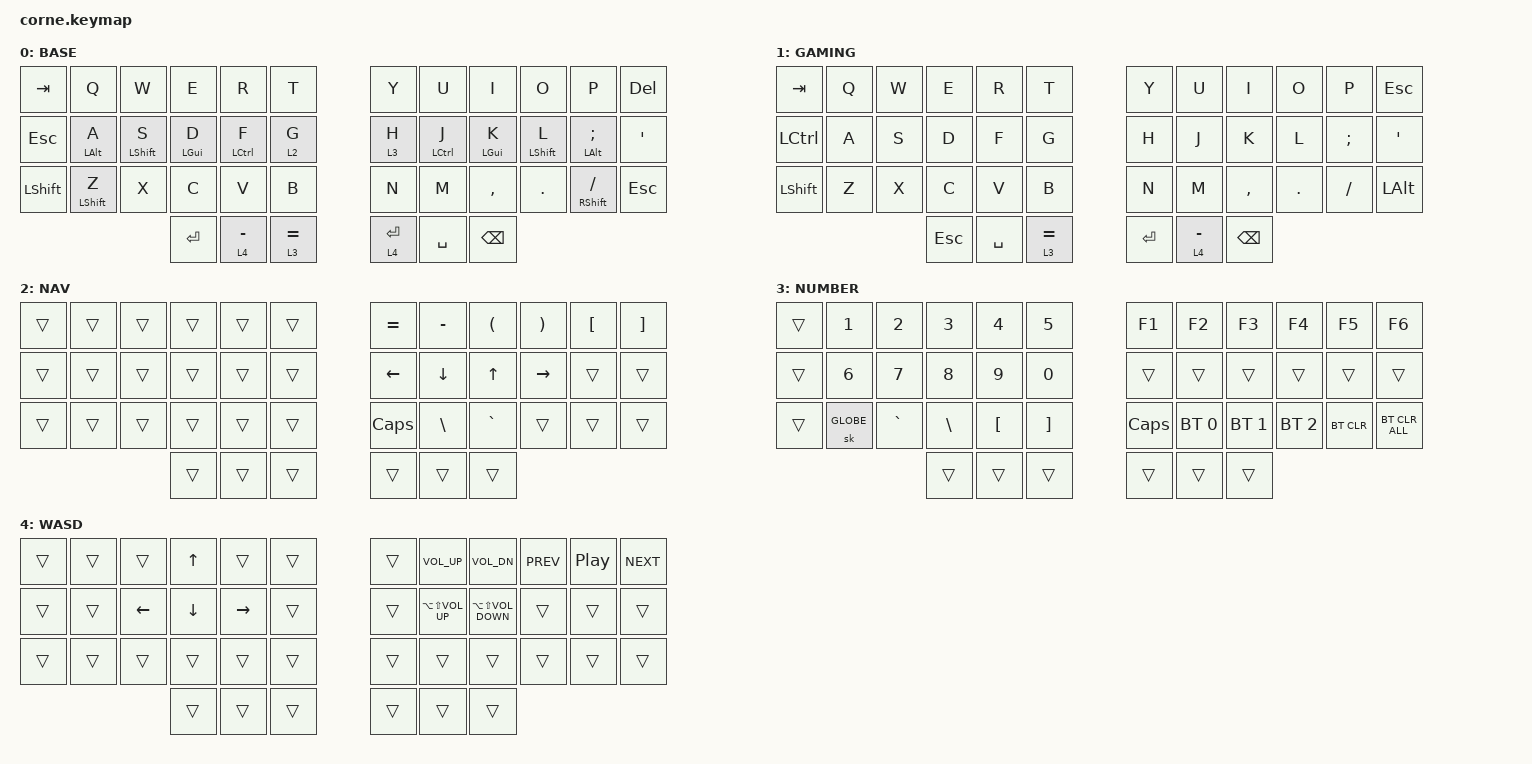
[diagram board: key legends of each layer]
/*
 * Copyright (c) 2020 The ZMK Contributors
 *
 * SPDX-License-Identifier: MIT
 */

#include <behaviors.dtsi>
#include <dt-bindings/zmk/bt.h>
#include <dt-bindings/zmk/keys.h>

/ {
    combos {
        compatible = "zmk,combos";

        GAMING {
            bindings = <&to 1>;
            key-positions = <10 9 8 7>;
        };

        BASE {
            bindings = <&to 0>;
            key-positions = <31 32 33 34>;
        };
    };

    behaviors {
        homemod: homemod {
            compatible = "zmk,behavior-hold-tap";
            label = "HOMEMOD";
            bindings = <&kp>, <&kp>;

            #binding-cells = <2>;
            flavor = "tap-preferred";
            tapping-term-ms = <180>;
            quick-tap-ms = <180>;
        };
    };

    keymap {
        compatible = "zmk,keymap";

        BASE {
            bindings = <
&kp TAB     &kp Q                &kp W                  &kp E            &kp R                    &kp T          &kp Y        &kp U                    &kp I            &kp O                  &kp P                        &kp DELETE
&kp ESCAPE  &homemod LEFT_ALT A  &homemod LEFT_SHIFT S  &homemod LGUI D  &homemod LEFT_CONTROL F  &lt 2 G        &lt 3 H      &homemod LEFT_CONTROL J  &homemod LGUI K  &homemod LEFT_SHIFT L  &homemod LEFT_ALT SEMICOLON  &kp SQT
&kp LSHFT   &mt LEFT_SHIFT Z     &kp X                  &kp C            &kp V                    &kp B          &kp N        &kp M                    &kp COMMA        &kp DOT                &mt RIGHT_SHIFT FSLH         &kp ESCAPE
                                                        &kp ENTER        &lt 4 MINUS              &lt 3 EQUAL    &lt 4 ENTER  &kp SPACE                &kp BACKSPACE
            >;
        };

        GAMING {
            bindings = <
&kp TAB           &kp Q  &kp W  &kp E       &kp R      &kp T          &kp Y      &kp U        &kp I          &kp O    &kp P     &kp ESCAPE
&kp LEFT_CONTROL  &kp A  &kp S  &kp D       &kp F      &kp G          &kp H      &kp J        &kp K          &kp L    &kp SEMI  &kp SQT
&kp LSHFT         &kp Z  &kp X  &kp C       &kp V      &kp B          &kp N      &kp M        &kp COMMA      &kp DOT  &kp FSLH  &kp LEFT_ALT
                                &kp ESCAPE  &kp SPACE  &lt 3 EQUAL    &kp ENTER  &lt 4 MINUS  &kp BACKSPACE
            >;
        };

        NAV {
            bindings = <
&trans  &trans  &trans  &trans  &trans  &trans    &kp EQUAL     &kp MINUS      &kp LEFT_PARENTHESIS  &kp RIGHT_PARENTHESIS  &kp LEFT_BRACKET  &kp RIGHT_BRACKET
&trans  &trans  &trans  &trans  &trans  &trans    &kp LEFT      &kp DOWN       &kp UP_ARROW          &kp RIGHT              &trans            &trans
&trans  &trans  &trans  &trans  &trans  &trans    &kp CAPSLOCK  &kp BACKSLASH  &kp GRAVE             &trans                 &trans            &trans
                        &trans  &trans  &trans    &trans        &trans         &trans
            >;
        };

        NUMBER {
            bindings = <
&trans  &kp N1     &kp N2     &kp N3         &kp N4    &kp N5      &kp F1        &kp F2        &kp F3        &kp F4        &kp F5      &kp F6
&trans  &kp N6     &kp N7     &kp N8         &kp N9    &kp N0      &trans        &trans        &trans        &trans        &trans      &trans
&trans  &sk GLOBE  &kp GRAVE  &kp BACKSLASH  &kp LBKT  &kp RBKT    &kp CAPSLOCK  &bt BT_SEL 0  &bt BT_SEL 1  &bt BT_SEL 2  &bt BT_CLR  &bt BT_CLR_ALL
                              &trans         &trans    &trans      &trans        &trans        &trans
            >;
        };

        WASD {
            bindings = <
&trans  &trans  &trans          &kp UP_ARROW    &trans           &trans    &trans  &kp C_VOL_UP          &kp C_VOL_DN               &kp C_PREV  &kp C_PLAY_PAUSE  &kp C_NEXT
&trans  &trans  &kp LEFT_ARROW  &kp DOWN_ARROW  &kp RIGHT_ARROW  &trans    &trans  &kp LA(LS(C_VOL_UP))  &kp LA(LS(C_VOLUME_DOWN))  &trans      &trans            &trans
&trans  &trans  &trans          &trans          &trans           &trans    &trans  &trans                &trans                     &trans      &trans            &trans
                                &trans          &trans           &trans    &trans  &trans                &trans
            >;
        };
    };
};
